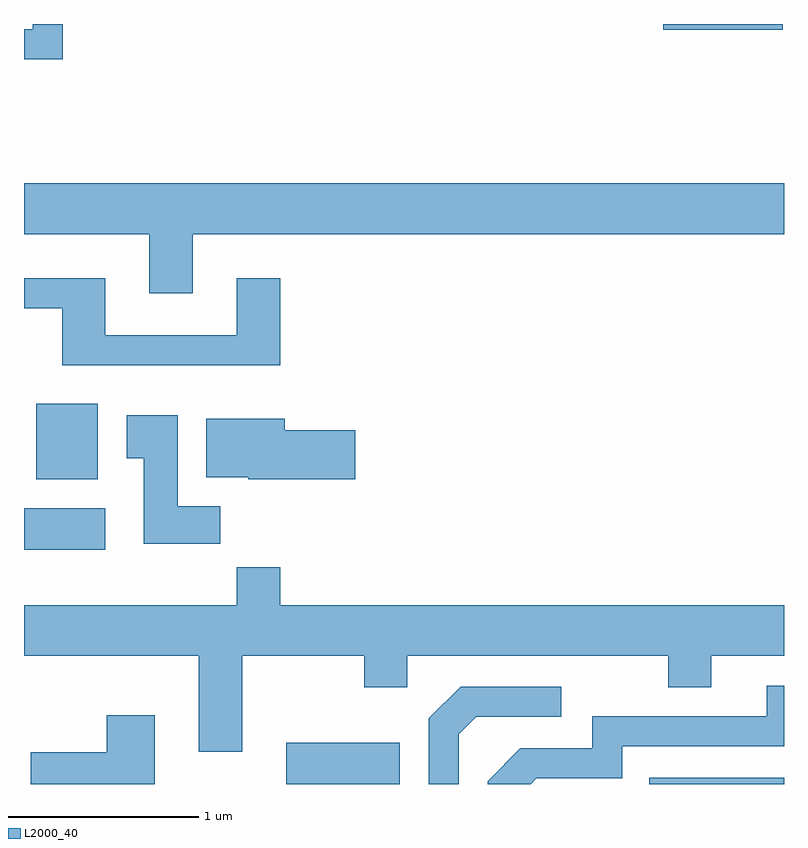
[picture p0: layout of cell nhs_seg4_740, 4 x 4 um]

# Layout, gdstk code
import gdstk
lib = gdstk.Library(unit=1e-6, precision=1e-09)
def R(c, l, rs):  # rectangles x0, y0, x1, y1
    for r in rs: c.add(gdstk.rectangle(r[:2], r[2:], *l))
def P(c, l, *ps):  # polygons
    for p in ps: c.add(gdstk.Polygon(p, *l))
L2000_40 = (2000, 40)

nhs_seg4_740 = lib.new_cell('nhs_seg4_740')
R(nhs_seg4_740, L2000_40, [(206.991,1373.982,207.589,1374.199), (208.903,1373.982,209.611,1374.014), (205.611,1375.216,206.039,1375.434), (205.676,1375.586,205.999,1375.984), (208.976,1377.951,209.604,1377.982)])
P(nhs_seg4_740, L2000_40, [(205.814,1377.982),(205.656,1377.982),(205.656,1377.954),(205.611,1377.954),(205.611,1377.796),(205.814,1377.796)],
  [(206.499,1376.876),(209.611,1376.876),(209.611,1377.144),(205.611,1377.144),(205.611,1376.876),(206.271,1376.876),(206.271,1376.566),(206.499,1376.566)],
  [(206.959,1376.644),(206.731,1376.644),(206.731,1376.344),(206.039,1376.344),(206.039,1376.644),(205.611,1376.644),(205.611,1376.486),(205.811,1376.486),(205.811,1376.186),(206.959,1376.186)],
  [(206.644,1375.444),(206.419,1375.444),(206.419,1375.924),(206.151,1375.924),(206.151,1375.696),(206.241,1375.696),(206.241,1375.246),(206.644,1375.246)],
  [(207.354,1375.844),(206.984,1375.844),(206.984,1375.904),(206.571,1375.904),(206.571,1375.596),(206.79,1375.596),(206.79,1375.586),(207.354,1375.586)],
  [(206.759,1374.656),(207.401,1374.656),(207.401,1374.491),(207.629,1374.491),(207.629,1374.656),(209.001,1374.656),(209.001,1374.491),(209.229,1374.491),(209.229,1374.656),(209.611,1374.656),(209.611,1374.924),(206.959,1374.924),(206.959,1375.124),(206.731,1375.124),(206.731,1374.924),(205.611,1374.924),(205.611,1374.656),(206.531,1374.656),(206.531,1374.151),(206.759,1374.151)],
  [(208.307,1374.011),(208.759,1374.011),(208.759,1374.181),(209.611,1374.181),(209.611,1374.499),(209.521,1374.499),(209.521,1374.339),(208.601,1374.339),(208.601,1374.169),(208.224,1374.169),(208.051,1373.997),(208.051,1373.982),(208.278,1373.982)],
  [(207.899,1374.244),(207.992,1374.336),(208.438,1374.336),(208.438,1374.494),(207.909,1374.494),(207.741,1374.327),(207.741,1373.982),(207.899,1373.982)],
  [(206.299,1374.344),(206.046,1374.344),(206.046,1374.149),(205.646,1374.149),(205.646,1373.982),(206.299,1373.982)])

lib.write_gds('nhs_seg4_740.gds')
